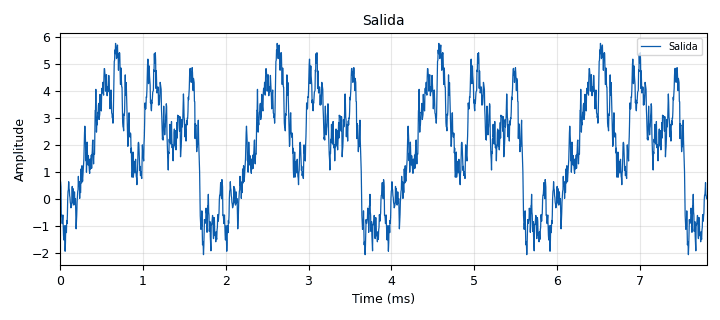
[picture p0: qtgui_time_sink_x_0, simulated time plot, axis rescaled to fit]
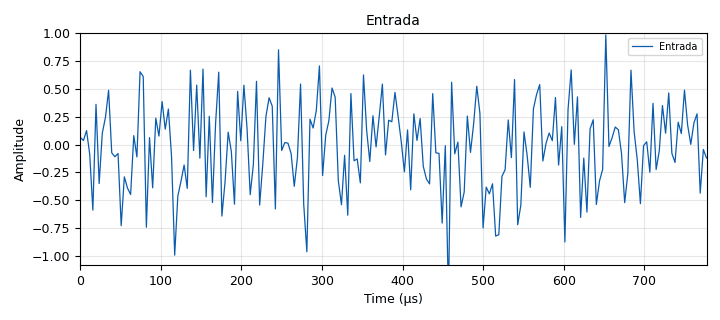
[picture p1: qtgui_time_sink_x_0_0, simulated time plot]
options:
  parameters:
    generate_options: qt_gui
    id: Práctica_1
    output_language: python
    title: Practica 2
  states: {}

blocks:
- name: samp_rate
  id: variable
  parameters:
    value: '256000'
  states: {}
- name: blocks_throttle2_0
  id: blocks_throttle2
  parameters:
    samples_per_second: samp_rate
    type: float
  states: {}
- name: blocks_vector_source_x_0
  id: blocks_vector_source_x
  parameters:
    repeat: 'True'
    type: float
    vector: (0.713, -0.101, -0.181, -1.048, 0.01, -0.115, -0.201, 0.139, 0.182, -0.413, -0.341, -0.177, 0.289, 0.238, -0.509, -0.435, 0.308, 0.643, 0.001, -0.26, 0.451, -0.111, 0.303, 0.633, 0.265, 0.043, 0.306, -0.244, -0.058, -0.216, -0.069, -0.181, -0.061, -0.139, 0.049, 0.039, 0.132, 0.574, -0.606, 0.531, -0.082, -0.48, -0.056, 0.05, 0.44, -0.411, 0.1, 0.06, -0.66, -0.461, 0.253, 0.291, 0.448, 0.227, 0.171, 0.062, 0.497, -0.324, -0.044, 0.167, -0.618, 0.538, -0.304, -0.016, 0.876, -0.319, -0.199, 0.638, -0.419, -0.16, 0.22, 0.195, 0.251, 0.161, 0.551, 0.42, 0.251, -0.26, -0.272, -0.75, 0.288, -0.716, 0.365, 0.752, -0.411, -0.261, -0.177, 0.345, -0.332, -0.039, -0.196, -0.087, 0.53, -0.372, 0.042, 0.122, 0.357, -0.492, 0.459, 0.187, 0.363, 0.042, -0.642, -0.246, 0.34, 0.028, -0.006, 0.73, 0.894, -0.002, 0.786, -0.784, -0.806, 0.36, -0.092, 0.245, 0.22, -0.023, 0.286, 0.073, -0.6, 0.101, 0.087, 0.746, -0.438, 0.02, -0.157, -0.04, 0.677, 0.165, -0.173, 0.075, 0.32, -0.384, -0.093, 0.63, 0.356, -0.005, -0.178, -0.048, -0.607, 0.39, 0.15, 0.069, -0.506, -0.273, 0.219, 0.116, -0.185, 0.215, 0.389, -0.257, -0.199, -0.335, -0.449, 0.332, 0.217, 0.149, -0.456, -0.405, -0.014, -0.152, 0.061, -0.266, 0.275, 0.733, 0.632, 0.657, 0.042, 0.382, -0.138, 0.381, -0.138, -0.182, -0.245, 0.293, 0.123, 0.088, -0.443, 0.07, -0.563, 0.604, -0.039, 0.091, -0.029, -0.62, -0.536, 0.002, 0.61, -0.433, -0.269, -0.006, -0.662, -0.666, -0.151, -0.005, -0.143, 0.627, -0.052, 0.157, 0.652, 0.695, -0.623, -0.138, 0.478, -0.538, -0.356, -0.506, -0.532, -0.44, 0.084, 0.521, 0.624, 0.018, -0.775, -0.009, -0.122, 0.154, -0.038, -0.705, 0.179, -0.814, -0.263, 0.138, 0.153, 0.642, -0.932, 0.149, 0.289, -0.118, 0.268, -0.428, 0.276, 0.228, -0.379, -0.253, -0.063, -0.249, 0.431, 0.083, 0.539, 0.483, 0.038, -0.064, -0.365, -0.309, -0.307, 0.152, -0.34, 0.045, 0.09, -0.185, -0.061, 0.591, 0.658, -0.3, -0.065, -0.136, -0.097, 0.627, 0.288, 0.517, 0.724, -0.163, -0.062, 0.029, 0.424, -0.023, 0.272, 0.481, 0.478, 0.192, -0.302, -0.608, 0.462, 0.196, -0.362, -0.189, -0.166, -0.657, 0.114, -0.302, -0.105, 0.309, -0.025, 0.23, 0.182, 0.026, 0.033, 0.758, -0.055, 0.664, -0.352, 0.305, 0.082, -0.279, -1.046, 0.651, -0.449, -0.372, 0.065, 0.036, 0.125, -0.088, -0.587, 0.36, -0.349, 0.103, 0.243, 0.486, -0.074, -0.109, -0.08, -0.726, -0.289, -0.389, -0.447, 0.08, -0.111, 0.652, 0.609, -0.74, 0.062, -0.387, 0.236, 0.076, 0.385, 0.138, 0.318, -0.106, -0.99, -0.461, -0.329, -0.183, -0.392, 0.666, -0.054, 0.532, -0.122, 0.675, -0.467, 0.253, -0.519, 0.19, 0.648, -0.64, -0.336, 0.111, -0.061, -0.534, 0.476, 0.034, 0.531, 0.141, -0.448, -0.179, 0.566, -0.541, -0.173, 0.253, 0.419, 0.344, -0.576, 0.848, -0.053, 0.018, 0.012, -0.08, -0.374, -0.118, 0.542, -0.532, -0.96, 0.227, 0.148, 0.304, 0.704, -0.277, 0.084, 0.214, 0.506, 0.424, -0.324, -0.538, -0.096, -0.632, 0.457, -0.145, -0.129, -0.343, 0.623, 0.128, -0.152, 0.258, -0.021, 0.251, 0.541, -0.093, 0.218, 0.204, 0.467, 0.251, 0.026, -0.244, 0.131, -0.405, 0.275, 0.037, 0.233, -0.195, -0.308, -0.352, 0.456, -0.074, -0.079, -0.703, -0.01, -1.371, 0.558, -0.083, 0.022, -0.558, -0.425, 0.255, -0.07, 0.185, 0.522, 0.278, -0.746, -0.381, -0.441, -0.351, -0.819, -0.807, -0.284, -0.226, 0.22, -0.117, 0.582, -0.718, -0.543, 0.113, -0.096, -0.383, 0.32, 0.448, 0.537, -0.147, 0.01, 0.103, 0.035, 0.421, -0.184, 0.16, -0.872, 0.314, 0.668, 0.002, 0.427, -0.652, -0.121, -0.604, 0.14, 0.222, -0.536, -0.326, -0.222, 0.982, -0.017, 0.061, 0.157, 0.132, -0.083, -0.52, -0.259, 0.666, 0.115, -0.136, -0.529, -0.01, 0.025, -0.248, 0.369, -0.223, -0.055, 0.35, 0.102, 0.462, -0.079, -0.16, 0.2, 0.099, 0.487, 0.175, 0.002, 0.193, 0.275, -0.435, -0.044, -0.12)
  states: {}
- name: epy_block_0_0_0
  id: epy_block
  parameters:
    _source_code: |-
      import numpy as np
      from gnuradio import gr


      class blk(gr.sync_block):
          def __init__(self):
              super().__init__(
                  name='e_Acum',
                  in_sig=[np.float32],
                  out_sig=[np.float32]
              )
              self.acum_anterior = 0.0

          def work(self, input_items, output_items):
              x = input_items[0]
              y0 = output_items[0]

              acumulado = self.acum_anterior + np.cumsum(x)
              y0[:] = acumulado
              self.acum_anterior = acumulado[-1]

              return len(y0)
  states: {}
- name: qtgui_time_sink_x_0
  id: qtgui_time_sink_x
  parameters:
    label1: Salida
    name: '"Salida"'
    size: '2000'
    srate: samp_rate
    type: float
  states: {}
- name: qtgui_time_sink_x_0_0
  id: qtgui_time_sink_x
  parameters:
    label1: Entrada
    name: '"Entrada"'
    size: '200'
    srate: samp_rate
    type: float
  states: {}

connections:
- [blocks_throttle2_0, '0', epy_block_0_0_0, '0']
- [blocks_throttle2_0, '0', qtgui_time_sink_x_0_0, '0']
- [blocks_vector_source_x_0, '0', blocks_throttle2_0, '0']
- [epy_block_0_0_0, '0', qtgui_time_sink_x_0, '0']

metadata:
  file_format: 1
  grc_version: 3.10.12.0
